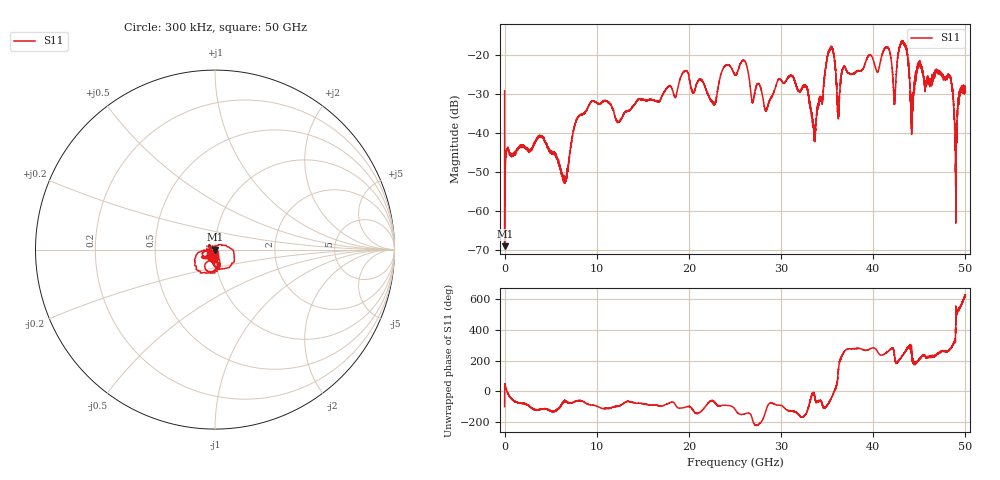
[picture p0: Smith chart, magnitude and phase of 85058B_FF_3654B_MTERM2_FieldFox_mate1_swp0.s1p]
!Created with skrf (http://scikit-rf.org).
# Hz S RI R 50.0
!freq ReS11 ImS11
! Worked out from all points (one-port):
!   10001 points, 300 kHz to 50 GHz, reference 50 ohm
!   lowest |S11| = -69.0 dB at 5.3 MHz (marker M1), VSWR 1.00, Z = 50 - j0.00529 ohm
!   |S11| at or under -10 dB: start of sweep to end of sweep
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300000  -0.00652 -0.0344
5299970  0.000349 -5.29e-05
2.552985e8  0.00613 -1.04e-05
3.940276e9  -0.00411 -0.00827
6.250262e9  0.000519 -0.00281
9.395244e9  0.000244 -0.0254
1.250022e10  -0.00107 -0.0146
1.875019e10  -0.00983 -0.0346
1.968518e10  -0.0141 -0.0616
2.268516e10  0.0102 -0.0214
2.383016e10  -0.00155 -0.071
2.500015e10  -0.0263 -0.0492
2.603514e10  -0.0716 -0.0455
2.838013e10  -0.00991 -0.0171
3.125011e10  -0.0346 -0.0408
3.35901e10  0.00731 -0.00302
3.531509e10  0.0543 -0.1049
3.621008e10  -0.00915 0.0147
3.750008e10  0.00836 -0.0567
4.149005e10  -0.0348 -0.1226
4.230005e10  -0.0108 -0.0224
4.301004e10  -0.1119 -0.094
4.375004e10  0.0267 -0.0834
4.422503e10  -0.0117 -0.00377
4.498503e10  -0.0696 -0.0369
4.824001e10  -0.00134 -0.0535
4.894501e10  0.00121 0.00171
5e10  -0.00319 -0.033
